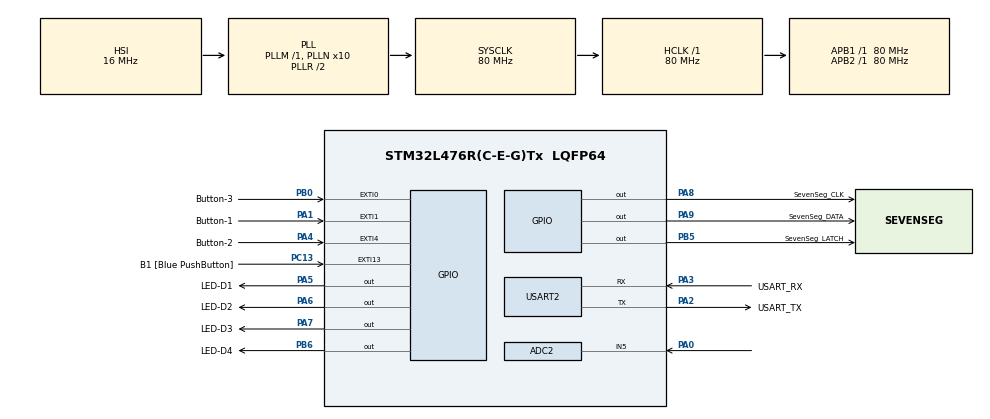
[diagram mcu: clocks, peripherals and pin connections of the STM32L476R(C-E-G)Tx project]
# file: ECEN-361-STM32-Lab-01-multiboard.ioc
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ADC2.Channel-1\#ChannelRegularConversion=ADC_CHANNEL_5
ADC2.NbrOfConversionFlag=1
ADC2.OffsetNumber-1\#ChannelRegularConversion=ADC_OFFSET_NONE
ADC2.Rank-1\#ChannelRegularConversion=1
ADC2.SamplingTime-1\#ChannelRegularConversion=ADC_SAMPLETIME_2CYCLES_5
Mcu.Family=STM32L4
Mcu.Name=STM32L476R(C-E-G)Tx
Mcu.Package=LQFP64
NVIC.EXTI0_IRQn=true\:0\:0\:false\:false\:true\:true\:true\:true
NVIC.EXTI1_IRQn=true\:0\:0\:false\:false\:true\:true\:true\:true
NVIC.EXTI4_IRQn=true\:0\:0\:false\:false\:true\:true\:true\:true
NVIC.PriorityGroup=NVIC_PRIORITYGROUP_4
NVIC.TIM1_BRK_TIM15_IRQn=true\:0\:0\:false\:false\:true\:true\:true\:true
NVIC.TIM1_TRG_COM_TIM17_IRQn=true\:0\:0\:false\:false\:true\:true\:true\:true
NVIC.TIM1_UP_TIM16_IRQn=true\:0\:0\:false\:false\:true\:true\:true\:true
PA0.Signal=ADCx_IN5
PA1.GPIO_Label=Button-1
PA1.GPIO_ModeDefaultEXTI=GPIO_MODE_IT_FALLING
PA1.Signal=GPXTI1
PA13\ (JTMS-SWDIO).GPIO_Label=TMS
PA13\ (JTMS-SWDIO).Mode=Serial_Wire
PA13\ (JTMS-SWDIO).Signal=SYS_JTMS-SWDIO
PA14\ (JTCK-SWCLK).GPIO_Label=TCK
PA14\ (JTCK-SWCLK).Mode=Serial_Wire
PA14\ (JTCK-SWCLK).Signal=SYS_JTCK-SWCLK
PA2.GPIO_Label=USART_TX
PA2.GPIO_Mode=GPIO_MODE_AF_PP
PA2.GPIO_PuPd=GPIO_NOPULL
PA2.GPIO_Speed=GPIO_SPEED_FREQ_VERY_HIGH
PA2.Mode=Asynchronous
PA2.Signal=USART2_TX
PA3.GPIO_Label=USART_RX
PA3.GPIO_Mode=GPIO_MODE_AF_PP
PA3.GPIO_PuPd=GPIO_NOPULL
PA3.GPIO_Speed=GPIO_SPEED_FREQ_VERY_HIGH
PA3.Mode=Asynchronous
PA3.Signal=USART2_RX
PA4.GPIO_Label=Button-2
PA4.GPIO_ModeDefaultEXTI=GPIO_MODE_IT_FALLING
PA4.Signal=GPXTI4
PA5.GPIO_Label=LED-D1
PA5.Signal=GPIO_Output
PA6.GPIO_Label=LED-D2
PA6.Signal=GPIO_Output
PA7.GPIO_Label=LED-D3
PA7.Signal=GPIO_Output
PA8.GPIO_Label=SevenSeg_CLK
PA8.Signal=GPIO_Output
PA9.GPIO_Label=SevenSeg_DATA
PA9.Signal=GPIO_Output
PB0.GPIO_Label=Button-3
PB0.GPIO_ModeDefaultEXTI=GPIO_MODE_IT_FALLING
PB0.Signal=GPXTI0
PB3\ (JTDO-TRACESWO).Signal=SYS_JTDO-SWO
PB5.GPIO_Label=SevenSeg_LATCH
PB5.Signal=GPIO_Output
PB6.GPIO_Label=LED-D4
PB6.Signal=GPIO_Output
PC1.GPIO_Label=LM35_IN
PC1.Signal=ADCx_IN2
PC13.GPIO_Label=B1 [Blue PushButton]
PC13.GPIO_ModeDefaultEXTI=GPIO_MODE_IT_FALLING
PC13.GPIO_PuPd=GPIO_NOPULL
PC13.Signal=GPXTI13
PC14-OSC32_IN\ (PC14).Mode=LSE-External-Oscillator
PC14-OSC32_IN\ (PC14).Signal=RCC_OSC32_IN
PC15-OSC32_OUT\ (PC15).Mode=LSE-External-Oscillator
PC15-OSC32_OUT\ (PC15).Signal=RCC_OSC32_OUT
PH0-OSC_IN\ (PH0).Signal=RCC_OSC_IN
PH1-OSC_OUT\ (PH1).Signal=RCC_OSC_OUT
ProjectManager.HeapSize=0x200
ProjectManager.StackSize=0x400
ProjectManager.TargetToolchain=STM32CubeIDE
RCC.ADCFreq_Value=64000000
RCC.AHBFreq_Value=80000000
RCC.APB1Freq_Value=80000000
RCC.APB1TimFreq_Value=80000000
RCC.APB2Freq_Value=80000000
RCC.APB2TimFreq_Value=80000000
RCC.CortexFreq_Value=80000000
RCC.HCLKFreq_Value=80000000
RCC.HSE_VALUE=8000000
RCC.HSI_VALUE=16000000
RCC.MSI_VALUE=4000000
RCC.PLLN=10
RCC.PLLSourceVirtual=RCC_PLLSOURCE_HSI
RCC.PREFETCH_ENABLE=1
RCC.SYSCLKFreq_VALUE=80000000
RCC.SYSCLKSource=RCC_SYSCLKSOURCE_PLLCLK
RCC.USBFreq_Value=64000000
RCC.VCOOutputFreq_Value=160000000
SH.ADCx_IN2.0=ADC1_IN2
SH.ADCx_IN5.0=ADC2_IN5,IN5-Single-Ended
TIM15.Period=10000-1
TIM15.Prescaler=8000-1
TIM16.Period=10000 -1 
TIM16.Prescaler=8000 -1
TIM17.Period=100
TIM17.Prescaler=800-1
USART2.VirtualMode-Asynchronous=VM_ASYNC
VP_TIM15_VS_ClockSourceINT.Mode=Internal
VP_TIM16_VS_ClockSourceINT.Mode=Enable_Timer
VP_TIM17_VS_ClockSourceINT.Mode=Enable_Timer
board=NUCLEO-L476RG

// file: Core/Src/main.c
/* USER CODE BEGIN Header */
/**
  ******************************************************************************
  * @file           : main.c
  * @brief          : Main program body
  ******************************************************************************
  * @attention
  *
  * Copyright (c) 2023 STMicroelectronics.
  * All rights reserved.
  *
  * This software is licensed under terms that can be found in the LICENSE file
  * in the root directory of this software component.
  * If no LICENSE file comes with this software, it is provided AS-IS.
  *
  ******************************************************************************
  */
/* USER CODE END Header */
#include "main.h"

/* USER CODE BEGIN Includes */
#include "MultiFunctionShield.h"
#include <stdio.h>
#include <stdbool.h>

/* USER CODE END Includes */

ADC_HandleTypeDef hadc2;

TIM_HandleTypeDef htim15;
TIM_HandleTypeDef htim16;
TIM_HandleTypeDef htim17;

UART_HandleTypeDef huart2;

void SystemClock_Config(void);
static void MX_GPIO_Init(void);
static void MX_USART2_UART_Init(void);
static void MX_TIM16_Init(void);
static void MX_TIM17_Init(void);
static void MX_ADC2_Init(void);
static void MX_TIM15_Init(void);
/* USER CODE BEGIN PFP */
/* Private function prototypes -----------------------------------------------*/
#define PUTCHAR_PROTOTYPE int __io_putchar(int ch)
void MultiFunctionShield_WriteNumberToSegment(uint8_t digit);
void MultiFunctionShield_Display (int16_t value);
void MultiFunctionShield__ISRFunc(void);
void MultiFunctionShield_Clear(void);
void OneSecond_Show_Potentiometer__ISRFunc(void);

uint16_t ADC_Result = 0;
uint8_t TimeToPrint = 0;
uint16_t Increment_Delay = 0;
enum Count_Direction {UP,DOWN};
enum Count_Direction Seven_Seg_Count_Dir = UP;

/* USER CODE END PFP */

/* USER CODE BEGIN 0 */

void OneSecond_Show_Potentiometer__ISRFunc(void)
	{
	// printf("Got to the show Pot ISR");
	// HAL_Delay(1);
	printf("Current Tick:  %lu    :   Raw Pot Value: %u   Delay between number update: %d\n\r",uwTick,ADC_Result,Increment_Delay);
	// HAL_Delay(1);
	}

/* USER CODE END 0 */

int main(void)
{
  /* USER CODE BEGIN 1 */
	int16_t Seven_Seg_Count = 9900;

  /* USER CODE END 1 */

  /* MCU Configuration--------------------------------------------------------*/

  /* Reset of all peripherals, Initializes the Flash interface and the Systick. */
  HAL_Init();

  /* USER CODE BEGIN Init */
  // HAL_GPIO_WritePin(Buzzer_GPIO_Port, Buzzer_Pin, 0);

  /* USER CODE END Init */

  /* Configure the system clock */
  SystemClock_Config();

  /* Initialize all configured peripherals */
  MX_GPIO_Init();
  MX_USART2_UART_Init();
  MX_TIM16_Init();
  MX_TIM17_Init();
  MX_ADC2_Init();
  MX_TIM15_Init();
  /* USER CODE BEGIN 2 */

  // Start timer
  // HAL_TIM_Base_Start_IT(&htim7);
  HAL_TIM_Base_Start_IT(&htim15);
  HAL_TIM_Base_Start_IT(&htim16);
  HAL_TIM_Base_Start_IT(&htim17);  // LED SevenSeg cycle thru them
  MultiFunctionShield_Clear();

  // Clear the lights
  HAL_GPIO_WritePin(LED_D1_GPIO_Port, LED_D1_Pin,GPIO_PIN_SET);
  HAL_GPIO_WritePin(LED_D2_GPIO_Port, LED_D2_Pin,GPIO_PIN_SET);
  HAL_GPIO_WritePin(LED_D3_GPIO_Port, LED_D3_Pin,GPIO_PIN_SET);
  HAL_GPIO_WritePin(LED_D4_GPIO_Port, LED_D4_Pin,GPIO_PIN_SET);

  /* USER CODE END 2 */

  /* Infinite loop */
  /* USER CODE BEGIN WHILE */

  printf("\033\143");  // clear the terminal before printing
  printf("Hello Lab-1 -- Multifunction Board \n\r\n\r");

  while (1)
  {
    /* USER CODE END WHILE */

    /* USER CODE BEGIN 3 */
	// HAL_GPIO_TogglePin(LED_D1_GPIO_Port, LED_D1_Pin);
	MultiFunctionShield_Display( Seven_Seg_Count);
	if (Seven_Seg_Count_Dir == UP)
		{ Seven_Seg_Count = (Seven_Seg_Count==9999)?0:Seven_Seg_Count+1; }
	else
		{ Seven_Seg_Count = (Seven_Seg_Count==0)?9999:Seven_Seg_Count-1; }

	// Start ADC Conversion of the 10K potentiometer
	HAL_ADC_Start(&hadc2);
	// The conversion should be less than a millisec
	// so it'll be done while we're waiting for the next number to show
	HAL_Delay(Increment_Delay);  // this is how long before the counter on the 7-Seg display

   // Poll ADC2 Perihperal & TimeOut = 1mSec
	HAL_ADC_PollForConversion(&hadc2, 1);
   // Read The ADC Conversion Result & Map It To PWM DutyCycle
	ADC_Result = HAL_ADC_GetValue(&hadc2);
	// Want the delay to be between 1/100-sec and 1-sec
	// Math:    1 / 100 =  / 4095
	Increment_Delay = (uint16_t)(ADC_Result + 1) * 1000 / 4095;
	// Now show the value in the serial port
	// only 12 bits, and right-aligned.
	// printf("Pot value:  %u\r", (unsigned int) (ADC_Result & 0xfff));
	// HAL_Delay(1);
	if (TimeToPrint) {
		OneSecond_Show_Potentiometer__ISRFunc();
		TimeToPrint=0;
	}

  }
  /* USER CODE END 3 */
}

void SystemClock_Config(void)
{
  RCC_OscInitTypeDef RCC_OscInitStruct = {0};
  RCC_ClkInitTypeDef RCC_ClkInitStruct = {0};

  /** Configure the main internal regulator output voltage
  */
  if (HAL_PWREx_ControlVoltageScaling(PWR_REGULATOR_VOLTAGE_SCALE1) != HAL_OK)
  {
    Error_Handler();
  }

  /** Initializes the RCC Oscillators according to the specified parameters
  * in the RCC_OscInitTypeDef structure.
  */
  RCC_OscInitStruct.OscillatorType = RCC_OSCILLATORTYPE_HSI;
  RCC_OscInitStruct.HSIState = RCC_HSI_ON;
  RCC_OscInitStruct.HSICalibrationValue = RCC_HSICALIBRATION_DEFAULT;
  RCC_OscInitStruct.PLL.PLLState = RCC_PLL_ON;
  RCC_OscInitStruct.PLL.PLLSource = RCC_PLLSOURCE_HSI;
  RCC_OscInitStruct.PLL.PLLM = 1;
  RCC_OscInitStruct.PLL.PLLN = 10;
  RCC_OscInitStruct.PLL.PLLP = RCC_PLLP_DIV7;
  RCC_OscInitStruct.PLL.PLLQ = RCC_PLLQ_DIV2;
  RCC_OscInitStruct.PLL.PLLR = RCC_PLLR_DIV2;
  if (HAL_RCC_OscConfig(&RCC_OscInitStruct) != HAL_OK)
  {
    Error_Handler();
  }

  /** Initializes the CPU, AHB and APB buses clocks
  */
  RCC_ClkInitStruct.ClockType = RCC_CLOCKTYPE_HCLK|RCC_CLOCKTYPE_SYSCLK
                              |RCC_CLOCKTYPE_PCLK1|RCC_CLOCKTYPE_PCLK2;
  RCC_ClkInitStruct.SYSCLKSource = RCC_SYSCLKSOURCE_PLLCLK;
  RCC_ClkInitStruct.AHBCLKDivider = RCC_SYSCLK_DIV1;
  RCC_ClkInitStruct.APB1CLKDivider = RCC_HCLK_DIV1;
  RCC_ClkInitStruct.APB2CLKDivider = RCC_HCLK_DIV1;

  if (HAL_RCC_ClockConfig(&RCC_ClkInitStruct, FLASH_LATENCY_4) != HAL_OK)
  {
    Error_Handler();
  }
}

static void MX_ADC2_Init(void)
{

  ADC_ChannelConfTypeDef sConfig = {0};

  /** Common config
  */
  hadc2.Instance = ADC2;
  hadc2.Init.ClockPrescaler = ADC_CLOCK_ASYNC_DIV1;
  hadc2.Init.Resolution = ADC_RESOLUTION_12B;
  hadc2.Init.DataAlign = ADC_DATAALIGN_RIGHT;
  hadc2.Init.ScanConvMode = ADC_SCAN_DISABLE;
  hadc2.Init.EOCSelection = ADC_EOC_SINGLE_CONV;
  hadc2.Init.LowPowerAutoWait = DISABLE;
  hadc2.Init.ContinuousConvMode = DISABLE;
  hadc2.Init.NbrOfConversion = 1;
  hadc2.Init.DiscontinuousConvMode = DISABLE;
  hadc2.Init.ExternalTrigConv = ADC_SOFTWARE_START;
  hadc2.Init.ExternalTrigConvEdge = ADC_EXTERNALTRIGCONVEDGE_NONE;
  hadc2.Init.DMAContinuousRequests = DISABLE;
  hadc2.Init.Overrun = ADC_OVR_DATA_PRESERVED;
  hadc2.Init.OversamplingMode = DISABLE;
  if (HAL_ADC_Init(&hadc2) != HAL_OK)
  {
    Error_Handler();
  }

  /** Configure Regular Channel
  */
  sConfig.Channel = ADC_CHANNEL_5;
  sConfig.Rank = ADC_REGULAR_RANK_1;
  sConfig.SamplingTime = ADC_SAMPLETIME_2CYCLES_5;
  sConfig.SingleDiff = ADC_SINGLE_ENDED;
  sConfig.OffsetNumber = ADC_OFFSET_NONE;
  sConfig.Offset = 0;
  if (HAL_ADC_ConfigChannel(&hadc2, &sConfig) != HAL_OK)
  {
    Error_Handler();
  }

}

static void MX_TIM15_Init(void)
{

  TIM_ClockConfigTypeDef sClockSourceConfig = {0};
  TIM_MasterConfigTypeDef sMasterConfig = {0};

  htim15.Instance = TIM15;
  htim15.Init.Prescaler = 8000-1;
  htim15.Init.CounterMode = TIM_COUNTERMODE_UP;
  htim15.Init.Period = 10000-1;
  htim15.Init.ClockDivision = TIM_CLOCKDIVISION_DIV1;
  htim15.Init.RepetitionCounter = 0;
  htim15.Init.AutoReloadPreload = TIM_AUTORELOAD_PRELOAD_DISABLE;
  if (HAL_TIM_Base_Init(&htim15) != HAL_OK)
  {
    Error_Handler();
  }
  sClockSourceConfig.ClockSource = TIM_CLOCKSOURCE_INTERNAL;
  if (HAL_TIM_ConfigClockSource(&htim15, &sClockSourceConfig) != HAL_OK)
  {
    Error_Handler();
  }
  sMasterConfig.MasterOutputTrigger = TIM_TRGO_RESET;
  sMasterConfig.MasterSlaveMode = TIM_MASTERSLAVEMODE_DISABLE;
  if (HAL_TIMEx_MasterConfigSynchronization(&htim15, &sMasterConfig) != HAL_OK)
  {
    Error_Handler();
  }

}

static void MX_TIM16_Init(void)
{

  htim16.Instance = TIM16;
  htim16.Init.Prescaler = 8000 -1;
  htim16.Init.CounterMode = TIM_COUNTERMODE_UP;
  htim16.Init.Period = 10000 -1 ;
  htim16.Init.ClockDivision = TIM_CLOCKDIVISION_DIV1;
  htim16.Init.RepetitionCounter = 0;
  htim16.Init.AutoReloadPreload = TIM_AUTORELOAD_PRELOAD_DISABLE;
  if (HAL_TIM_Base_Init(&htim16) != HAL_OK)
  {
    Error_Handler();
  }

}

static void MX_TIM17_Init(void)
{

  htim17.Instance = TIM17;
  htim17.Init.Prescaler = 800-1;
  htim17.Init.CounterMode = TIM_COUNTERMODE_UP;
  htim17.Init.Period = 100;
  htim17.Init.ClockDivision = TIM_CLOCKDIVISION_DIV1;
  htim17.Init.RepetitionCounter = 0;
  htim17.Init.AutoReloadPreload = TIM_AUTORELOAD_PRELOAD_DISABLE;
  if (HAL_TIM_Base_Init(&htim17) != HAL_OK)
  {
    Error_Handler();
  }

}

static void MX_USART2_UART_Init(void)
{

  huart2.Instance = USART2;
  huart2.Init.BaudRate = 115200;
  huart2.Init.WordLength = UART_WORDLENGTH_8B;
  huart2.Init.StopBits = UART_STOPBITS_1;
  huart2.Init.Parity = UART_PARITY_NONE;
  huart2.Init.Mode = UART_MODE_TX_RX;
  huart2.Init.HwFlowCtl = UART_HWCONTROL_NONE;
  huart2.Init.OverSampling = UART_OVERSAMPLING_16;
  huart2.Init.OneBitSampling = UART_ONE_BIT_SAMPLE_DISABLE;
  huart2.AdvancedInit.AdvFeatureInit = UART_ADVFEATURE_NO_INIT;
  if (HAL_UART_Init(&huart2) != HAL_OK)
  {
    Error_Handler();
  }

}

static void MX_GPIO_Init(void)
{
  GPIO_InitTypeDef GPIO_InitStruct = {0};

  /* GPIO Ports Clock Enable */
  __HAL_RCC_GPIOC_CLK_ENABLE();
  __HAL_RCC_GPIOH_CLK_ENABLE();
  __HAL_RCC_GPIOA_CLK_ENABLE();
  __HAL_RCC_GPIOB_CLK_ENABLE();

  /*Configure GPIO pin Output Level */
  HAL_GPIO_WritePin(GPIOA, LED_D1_Pin|LED_D2_Pin|LED_D3_Pin|SevenSeg_CLK_Pin
                          |SevenSeg_DATA_Pin, GPIO_PIN_RESET);

  /*Configure GPIO pin Output Level */
  HAL_GPIO_WritePin(GPIOB, SevenSeg_LATCH_Pin|LED_D4_Pin, GPIO_PIN_RESET);

  /*Configure GPIO pin : B1_Pin */
  GPIO_InitStruct.Pin = B1_Pin;
  GPIO_InitStruct.Mode = GPIO_MODE_IT_FALLING;
  GPIO_InitStruct.Pull = GPIO_NOPULL;
  HAL_GPIO_Init(B1_GPIO_Port, &GPIO_InitStruct);

  /*Configure GPIO pin : LM35_IN_Pin */
  GPIO_InitStruct.Pin = LM35_IN_Pin;
  GPIO_InitStruct.Mode = GPIO_MODE_ANALOG_ADC_CONTROL;
  GPIO_InitStruct.Pull = GPIO_NOPULL;
  HAL_GPIO_Init(LM35_IN_GPIO_Port, &GPIO_InitStruct);

  /*Configure GPIO pins : Button_1_Pin Button_2_Pin */
  GPIO_InitStruct.Pin = Button_1_Pin|Button_2_Pin;
  GPIO_InitStruct.Mode = GPIO_MODE_IT_FALLING;
  GPIO_InitStruct.Pull = GPIO_NOPULL;
  HAL_GPIO_Init(GPIOA, &GPIO_InitStruct);

  /*Configure GPIO pins : LED_D1_Pin LED_D2_Pin LED_D3_Pin SevenSeg_CLK_Pin
                           SevenSeg_DATA_Pin */
  GPIO_InitStruct.Pin = LED_D1_Pin|LED_D2_Pin|LED_D3_Pin|SevenSeg_CLK_Pin
                          |SevenSeg_DATA_Pin;
  GPIO_InitStruct.Mode = GPIO_MODE_OUTPUT_PP;
  GPIO_InitStruct.Pull = GPIO_NOPULL;
  GPIO_InitStruct.Speed = GPIO_SPEED_FREQ_LOW;
  HAL_GPIO_Init(GPIOA, &GPIO_InitStruct);

  /*Configure GPIO pin : Button_3_Pin */
  GPIO_InitStruct.Pin = Button_3_Pin;
  GPIO_InitStruct.Mode = GPIO_MODE_IT_FALLING;
  GPIO_InitStruct.Pull = GPIO_NOPULL;
  HAL_GPIO_Init(Button_3_GPIO_Port, &GPIO_InitStruct);

  /*Configure GPIO pins : SevenSeg_LATCH_Pin LED_D4_Pin */
  GPIO_InitStruct.Pin = SevenSeg_LATCH_Pin|LED_D4_Pin;
  GPIO_InitStruct.Mode = GPIO_MODE_OUTPUT_PP;
  GPIO_InitStruct.Pull = GPIO_NOPULL;
  GPIO_InitStruct.Speed = GPIO_SPEED_FREQ_LOW;
  HAL_GPIO_Init(GPIOB, &GPIO_InitStruct);

  /* EXTI interrupt init*/
  HAL_NVIC_SetPriority(EXTI0_IRQn, 0, 0);
  HAL_NVIC_EnableIRQ(EXTI0_IRQn);

  HAL_NVIC_SetPriority(EXTI1_IRQn, 0, 0);
  HAL_NVIC_EnableIRQ(EXTI1_IRQn);

  HAL_NVIC_SetPriority(EXTI4_IRQn, 0, 0);
  HAL_NVIC_EnableIRQ(EXTI4_IRQn);

}

/* USER CODE BEGIN 4 */

/**
  * @brief  Retargets the C library printf function to the USART.
  * @param  None
  * @retval None
  */
PUTCHAR_PROTOTYPE
{
  /* Place your implementation of fputc here */
  /* e.g. write a character to the USART1 and Loop until the end of transmission */
  HAL_UART_Transmit(&huart2, (uint8_t *)&ch, 1, 0xFFFF);

  return ch;
}

void HAL_GPIO_EXTI_Callback(uint16_t GPIO_Pin)
	{
	// All three buttons generate GPIO  interrupts
	switch(GPIO_Pin)
	{
	case Button_1_Pin:
		// Toggle the count direction
		Seven_Seg_Count_Dir = (Seven_Seg_Count_Dir == UP)?DOWN:UP;
		break;
	case Button_2_Pin:
		HAL_GPIO_TogglePin(LED_D1_GPIO_Port, LED_D1_Pin);
		break;
	case Button_3_Pin:
		break;
	default:
      __NOP();
	}
}

// Callback: timer has rolled over
void HAL_TIM_PeriodElapsedCallback(TIM_HandleTypeDef *htim)
{
	/*
  if (htim == &htim7 )
  {
	HAL_GPIO_TogglePin(LED_D2_GPIO_Port, LED_D2_Pin);
	  printf("Got timer 7\n\r");
  }
  */

// Check which version of the timer triggered this callback and toggle LED
  if (htim == &htim16 )
  {
    HAL_GPIO_TogglePin(LED_D3_GPIO_Port, LED_D3_Pin);
  }

  if (htim == &htim17 )
  {
	  MultiFunctionShield__ISRFunc();
  }

  if (htim == &htim15 )
  {
    // HAL_GPIO_TogglePin(LED_D1_GPIO_Port, LED_D1_Pin);
	TimeToPrint = 1;
  }

}

/* USER CODE END 4 */

void Error_Handler(void)
{
  __disable_irq();
  while (1)
  {
  }
}
